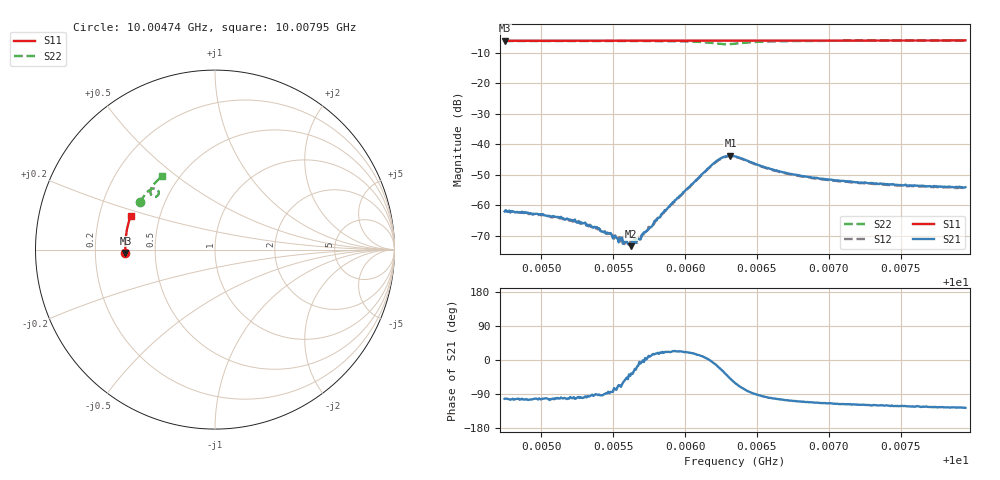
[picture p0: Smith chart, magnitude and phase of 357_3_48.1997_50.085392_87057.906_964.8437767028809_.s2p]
#  HZ  S  RI  R  50.00
! Rohde & Schwarz Vector Network Analyzer
! Rohde-Schwarz,ZNB20-2Port,1311601062101988,3.16
! Created: UTC 3/20/2024, 11:52:03 AM
! freq[Hz]  re:S11  im:S11  re:S21  im:S21  re:S12  im:S12  re:S22  im:S22
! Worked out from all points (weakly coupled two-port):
!   401 points, 10.00474 GHz to 10.00795 GHz, reference 50 ohm
!   highest |S21| = -43.79 dB at 10.00632 GHz (marker M1); lowest = -73.5 dB at 10.00563 GHz (marker M2)
!   lowest |S11| = -6.0 dB at 10.00474 GHz (marker M3), VSWR 2.99, Z = 16.7 - j0.832 ohm
!   |S11| at or under -10 dB: nowhere
!   |S22| runs from -7.2 to -6.0 dB; largest |S21 - S12| = 0.00038
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1.0004745e10  -0.4988 -0.0187  -0.00017 -0.00077  -0.000144 -0.000782  -0.418 0.2625
1.0005001e10  -0.4995 -0.00211  -0.000164 -0.000676  -9.82e-05 -0.000667  -0.4091 0.2777
1.0005282e10  -0.4999 0.0163  -8.63e-05 -0.000494  -7.35e-05 -0.000512  -0.3981 0.2945
1.0005386e10  -0.4999 0.0229  -8.1e-06 -0.000438  -1.68e-05 -0.000412  -0.3936 0.3007
1.0005426e10  -0.4999 0.0256  -2.15e-05 -0.000369  -7.18e-07 -0.000371  -0.3919 0.303
1.000553e10  -0.4997 0.0323  9.21e-05 -0.000272  9.78e-05 -0.000259  -0.387 0.3094
1.000557e10  -0.4996 0.0348  0.00012 -0.000199  0.00013 -0.000212  -0.385 0.3119
1.000561e10  -0.4995 0.0375  0.00018 -0.000139  0.000163 -0.000151  -0.383 0.3143
1.0005626e10  -0.4995 0.0385  0.000173 -0.000123  0.000214 -0.000146  -0.382 0.3154
1.0005682e10  -0.4992 0.0423  0.000273 -2.23e-05  0.000273 -3.35e-05  -0.379 0.3187
1.0005714e10  -0.4991 0.0442  0.000356 -3.35e-05  0.000334 6.21e-06  -0.3771 0.3208
1.0005755e10  -0.4989 0.0468  0.00042 6.49e-05  0.000421 0.000101  -0.3745 0.3234
1.0005819e10  -0.4989 0.0509  0.000603 0.000172  0.000601 0.000238  -0.37 0.3275
1.0005915e10  -0.4982 0.0573  0.00102 0.000444  0.000959 0.000434  -0.3619 0.3335
1.0006195e10  -0.496 0.0752  0.00473 -0.000596  0.00467 -0.000334  -0.3173 0.3295
1.0006259e10  -0.4951 0.0791  0.00535 -0.00284  0.00539 -0.00253  -0.314 0.3097
1.0006315e10  -0.4949 0.0823  0.00421 -0.0049  0.00438 -0.00461  -0.327 0.2954
1.0006347e10  -0.4947 0.0844  0.0031 -0.0055  0.00335 -0.00523  -0.3373 0.2938
1.0006612e10  -0.4925 0.1013  -0.000767 -0.00376  -0.00059 -0.0037  -0.3587 0.3317
1.0006884e10  -0.4894 0.1186  -0.00106 -0.00262  -0.000899 -0.00261  -0.3471 0.3554
1.0007421e10  -0.4809 0.1522  -0.00112 -0.00188  -0.00101 -0.00189  -0.3204 0.3855
1.000795e10  -0.4706 0.1847  -0.00117 -0.00159  -0.00105 -0.0016  -0.2934 0.4097
